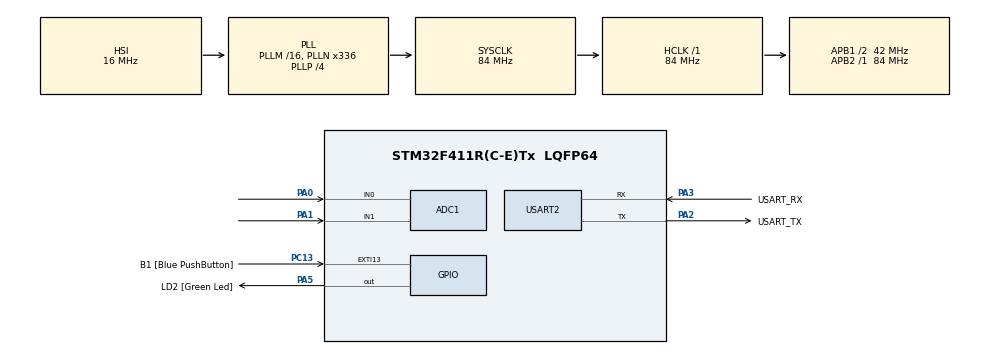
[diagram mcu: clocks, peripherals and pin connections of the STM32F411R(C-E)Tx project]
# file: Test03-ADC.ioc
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ADC1.Channel-0\#ChannelRegularConversion=ADC_CHANNEL_0
ADC1.Channel-1\#ChannelRegularConversion=ADC_CHANNEL_1
ADC1.DiscontinuousConvMode=ENABLE
ADC1.NbrOfConversion=2
ADC1.NbrOfConversionFlag=1
ADC1.Rank-0\#ChannelRegularConversion=1
ADC1.Rank-1\#ChannelRegularConversion=2
ADC1.SamplingTime-0\#ChannelRegularConversion=ADC_SAMPLETIME_3CYCLES
ADC1.SamplingTime-1\#ChannelRegularConversion=ADC_SAMPLETIME_3CYCLES
ADC1.ScanConvMode=ENABLE
ADC1.master=1
Mcu.Family=STM32F4
Mcu.Name=STM32F411R(C-E)Tx
Mcu.Package=LQFP64
NVIC.ADC_IRQn=true\:0\:0\:false\:false\:true\:true\:true\:true
NVIC.EXTI15_10_IRQn=true\:0\:0\:false\:false\:true\:true\:true\:true
NVIC.PriorityGroup=NVIC_PRIORITYGROUP_0
PA0-WKUP.Signal=ADCx_IN0
PA1.Signal=ADCx_IN1
PA13.GPIO_Label=TMS
PA13.Mode=Serial_Wire
PA13.Signal=SYS_JTMS-SWDIO
PA14.GPIO_Label=TCK
PA14.Mode=Serial_Wire
PA14.Signal=SYS_JTCK-SWCLK
PA2.GPIO_Label=USART_TX
PA2.Mode=Asynchronous
PA2.Signal=USART2_TX
PA3.GPIO_Label=USART_RX
PA3.Mode=Asynchronous
PA3.Signal=USART2_RX
PA5.GPIO_Label=LD2 [Green Led]
PA5.Signal=GPIO_Output
PB3.GPIO_Label=SWO
PB3.Signal=SYS_JTDO-SWO
PC13-ANTI_TAMP.GPIO_Label=B1 [Blue PushButton]
PC13-ANTI_TAMP.GPIO_ModeDefaultEXTI=GPIO_MODE_IT_FALLING
PC13-ANTI_TAMP.Signal=GPXTI13
PC14-OSC32_IN.Mode=LSE-External-Oscillator
PC14-OSC32_IN.Signal=RCC_OSC32_IN
PC15-OSC32_OUT.Mode=LSE-External-Oscillator
PC15-OSC32_OUT.Signal=RCC_OSC32_OUT
PH0\ -\ OSC_IN.Mode=HSE-External-Clock-Source
PH0\ -\ OSC_IN.Signal=RCC_OSC_IN
PH1\ -\ OSC_OUT.Mode=HSE-External-Clock-Source
PH1\ -\ OSC_OUT.Signal=RCC_OSC_OUT
ProjectManager.HeapSize=0x200
ProjectManager.StackSize=0x400
ProjectManager.TargetToolchain=STM32CubeIDE
RCC.48MHZClocksFreq_Value=84000000
RCC.AHBFreq_Value=84000000
RCC.APB1CLKDivider=RCC_HCLK_DIV2
RCC.APB1Freq_Value=42000000
RCC.APB1TimFreq_Value=84000000
RCC.APB2Freq_Value=84000000
RCC.APB2TimFreq_Value=84000000
RCC.CortexFreq_Value=84000000
RCC.FLatency-AdvancedSettings=FLASH_LATENCY_2
RCC.HCLKFreq_Value=84000000
RCC.HSE_VALUE=8000000
RCC.HSI_VALUE=16000000
RCC.PLLN=336
RCC.PLLP=RCC_PLLP_DIV4
RCC.SYSCLKFreq_VALUE=84000000
RCC.SYSCLKSource=RCC_SYSCLKSOURCE_PLLCLK
RCC.VCOOutputFreq_Value=336000000
SH.ADCx_IN0.0=ADC1_IN0,IN0
SH.ADCx_IN1.0=ADC1_IN1,IN1
USART2.VirtualMode=VM_ASYNC
board=NUCLEO-F411RE

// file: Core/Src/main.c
/* USER CODE BEGIN Header */
/**
  ******************************************************************************
  * @file           : main.c
  * @brief          : Main program body
  ******************************************************************************
  * @attention
  *
  * Copyright (c) 2023 STMicroelectronics.
  * All rights reserved.
  *
  * This software is licensed under terms that can be found in the LICENSE file
  * in the root directory of this software component.
  * If no LICENSE file comes with this software, it is provided AS-IS.
  *
  ******************************************************************************
  */
/* USER CODE END Header */
#include "main.h"

ADC_HandleTypeDef hadc1;

UART_HandleTypeDef huart2;

void SystemClock_Config(void);
static void MX_GPIO_Init(void);
static void MX_USART2_UART_Init(void);
static void MX_ADC1_Init(void);

/* USER CODE BEGIN 0 */
int __io_putchar(int c)
{
	HAL_UART_Transmit(&huart2, &c, 1, 10);
	return c;
}
int v[32], cn = 2, idx = 0;  // v[] : adc value array,  cn : adc channel num.
int GetADCValue(int *val, int n)  // Get n adc value. return get number
{
	for(int i = 0;i < n;i++)
	{
		HAL_ADC_Start(&hadc1);
		HAL_ADC_PollForConversion(&hadc1, 100);
		*(val + i) = HAL_ADC_GetValue(&hadc1);
	}
}
void HAL_ADC_ConvCpltCallback(ADC_HandleTypeDef* hadc)
{
	v[idx++] = HAL_ADC_GetValue(&hadc1);
	if(idx == cn)
	{
		idx = 0;
		printf("[Callback] x = %4d    y = %4d\r\n",v[0], v[1]);
	}
	HAL_ADC_Start_IT(&hadc1);
}
int Mode = 0;
void HAL_GPIO_EXTI_Callback(uint16_t GPIO_Pin)
{
	Mode++;
}

/* USER CODE END 0 */

int main(void)
{

  /* MCU Configuration--------------------------------------------------------*/

  /* Reset of all peripherals, Initializes the Flash interface and the Systick. */
  HAL_Init();

  /* Configure the system clock */
  SystemClock_Config();

  /* Initialize all configured peripherals */
  MX_GPIO_Init();
  MX_USART2_UART_Init();
  MX_ADC1_Init();
  /* USER CODE BEGIN 2 */

  //HAL_ADC_Start_IT(&hadc1);

  /* USER CODE END 2 */

  /* Infinite loop */
  /* USER CODE BEGIN WHILE */
  int swt = 0;  // ADC started.
  while (1)
  {
	if(Mode == 0) continue;
	if(Mode > 0 && swt == 0)
	{
		HAL_ADC_Start_IT(&hadc1);
		swt = 1;
	}
    /* USER CODE END WHILE */

    /* USER CODE BEGIN 3 */
	if(1)
	{
		GetADCValue(v, 2);
		printf("[Polling] x = %4d    y = %4d\r\n",v[0], v[1]);
		HAL_Delay(200);
	}
  }
  /* USER CODE END 3 */
}

void SystemClock_Config(void)
{
  RCC_OscInitTypeDef RCC_OscInitStruct = {0};
  RCC_ClkInitTypeDef RCC_ClkInitStruct = {0};

  /** Configure the main internal regulator output voltage
  */
  __HAL_RCC_PWR_CLK_ENABLE();
  __HAL_PWR_VOLTAGESCALING_CONFIG(PWR_REGULATOR_VOLTAGE_SCALE1);

  /** Initializes the RCC Oscillators according to the specified parameters
  * in the RCC_OscInitTypeDef structure.
  */
  RCC_OscInitStruct.OscillatorType = RCC_OSCILLATORTYPE_HSI;
  RCC_OscInitStruct.HSIState = RCC_HSI_ON;
  RCC_OscInitStruct.HSICalibrationValue = RCC_HSICALIBRATION_DEFAULT;
  RCC_OscInitStruct.PLL.PLLState = RCC_PLL_ON;
  RCC_OscInitStruct.PLL.PLLSource = RCC_PLLSOURCE_HSI;
  RCC_OscInitStruct.PLL.PLLM = 16;
  RCC_OscInitStruct.PLL.PLLN = 336;
  RCC_OscInitStruct.PLL.PLLP = RCC_PLLP_DIV4;
  RCC_OscInitStruct.PLL.PLLQ = 4;
  if (HAL_RCC_OscConfig(&RCC_OscInitStruct) != HAL_OK)
  {
    Error_Handler();
  }

  /** Initializes the CPU, AHB and APB buses clocks
  */
  RCC_ClkInitStruct.ClockType = RCC_CLOCKTYPE_HCLK|RCC_CLOCKTYPE_SYSCLK
                              |RCC_CLOCKTYPE_PCLK1|RCC_CLOCKTYPE_PCLK2;
  RCC_ClkInitStruct.SYSCLKSource = RCC_SYSCLKSOURCE_PLLCLK;
  RCC_ClkInitStruct.AHBCLKDivider = RCC_SYSCLK_DIV1;
  RCC_ClkInitStruct.APB1CLKDivider = RCC_HCLK_DIV2;
  RCC_ClkInitStruct.APB2CLKDivider = RCC_HCLK_DIV1;

  if (HAL_RCC_ClockConfig(&RCC_ClkInitStruct, FLASH_LATENCY_2) != HAL_OK)
  {
    Error_Handler();
  }
}

static void MX_ADC1_Init(void)
{

  ADC_ChannelConfTypeDef sConfig = {0};

  /** Configure the global features of the ADC (Clock, Resolution, Data Alignment and number of conversion)
  */
  hadc1.Instance = ADC1;
  hadc1.Init.ClockPrescaler = ADC_CLOCK_SYNC_PCLK_DIV4;
  hadc1.Init.Resolution = ADC_RESOLUTION_12B;
  hadc1.Init.ScanConvMode = ENABLE;
  hadc1.Init.ContinuousConvMode = DISABLE;
  hadc1.Init.DiscontinuousConvMode = ENABLE;
  hadc1.Init.NbrOfDiscConversion = 1;
  hadc1.Init.ExternalTrigConvEdge = ADC_EXTERNALTRIGCONVEDGE_NONE;
  hadc1.Init.ExternalTrigConv = ADC_SOFTWARE_START;
  hadc1.Init.DataAlign = ADC_DATAALIGN_RIGHT;
  hadc1.Init.NbrOfConversion = 2;
  hadc1.Init.DMAContinuousRequests = DISABLE;
  hadc1.Init.EOCSelection = ADC_EOC_SINGLE_CONV;
  if (HAL_ADC_Init(&hadc1) != HAL_OK)
  {
    Error_Handler();
  }

  /** Configure for the selected ADC regular channel its corresponding rank in the sequencer and its sample time.
  */
  sConfig.Channel = ADC_CHANNEL_0;
  sConfig.Rank = 1;
  sConfig.SamplingTime = ADC_SAMPLETIME_3CYCLES;
  if (HAL_ADC_ConfigChannel(&hadc1, &sConfig) != HAL_OK)
  {
    Error_Handler();
  }

  /** Configure for the selected ADC regular channel its corresponding rank in the sequencer and its sample time.
  */
  sConfig.Channel = ADC_CHANNEL_1;
  sConfig.Rank = 2;
  if (HAL_ADC_ConfigChannel(&hadc1, &sConfig) != HAL_OK)
  {
    Error_Handler();
  }

}

static void MX_USART2_UART_Init(void)
{

  huart2.Instance = USART2;
  huart2.Init.BaudRate = 115200;
  huart2.Init.WordLength = UART_WORDLENGTH_8B;
  huart2.Init.StopBits = UART_STOPBITS_1;
  huart2.Init.Parity = UART_PARITY_NONE;
  huart2.Init.Mode = UART_MODE_TX_RX;
  huart2.Init.HwFlowCtl = UART_HWCONTROL_NONE;
  huart2.Init.OverSampling = UART_OVERSAMPLING_16;
  if (HAL_UART_Init(&huart2) != HAL_OK)
  {
    Error_Handler();
  }

}

static void MX_GPIO_Init(void)
{
  GPIO_InitTypeDef GPIO_InitStruct = {0};

  /* GPIO Ports Clock Enable */
  __HAL_RCC_GPIOC_CLK_ENABLE();
  __HAL_RCC_GPIOH_CLK_ENABLE();
  __HAL_RCC_GPIOA_CLK_ENABLE();
  __HAL_RCC_GPIOB_CLK_ENABLE();

  /*Configure GPIO pin Output Level */
  HAL_GPIO_WritePin(LD2_GPIO_Port, LD2_Pin, GPIO_PIN_RESET);

  /*Configure GPIO pin : B1_Pin */
  GPIO_InitStruct.Pin = B1_Pin;
  GPIO_InitStruct.Mode = GPIO_MODE_IT_FALLING;
  GPIO_InitStruct.Pull = GPIO_NOPULL;
  HAL_GPIO_Init(B1_GPIO_Port, &GPIO_InitStruct);

  /*Configure GPIO pin : LD2_Pin */
  GPIO_InitStruct.Pin = LD2_Pin;
  GPIO_InitStruct.Mode = GPIO_MODE_OUTPUT_PP;
  GPIO_InitStruct.Pull = GPIO_NOPULL;
  GPIO_InitStruct.Speed = GPIO_SPEED_FREQ_LOW;
  HAL_GPIO_Init(LD2_GPIO_Port, &GPIO_InitStruct);

  /* EXTI interrupt init*/
  HAL_NVIC_SetPriority(EXTI15_10_IRQn, 0, 0);
  HAL_NVIC_EnableIRQ(EXTI15_10_IRQn);

}

void Error_Handler(void)
{
  __disable_irq();
  while (1)
  {
  }
}
